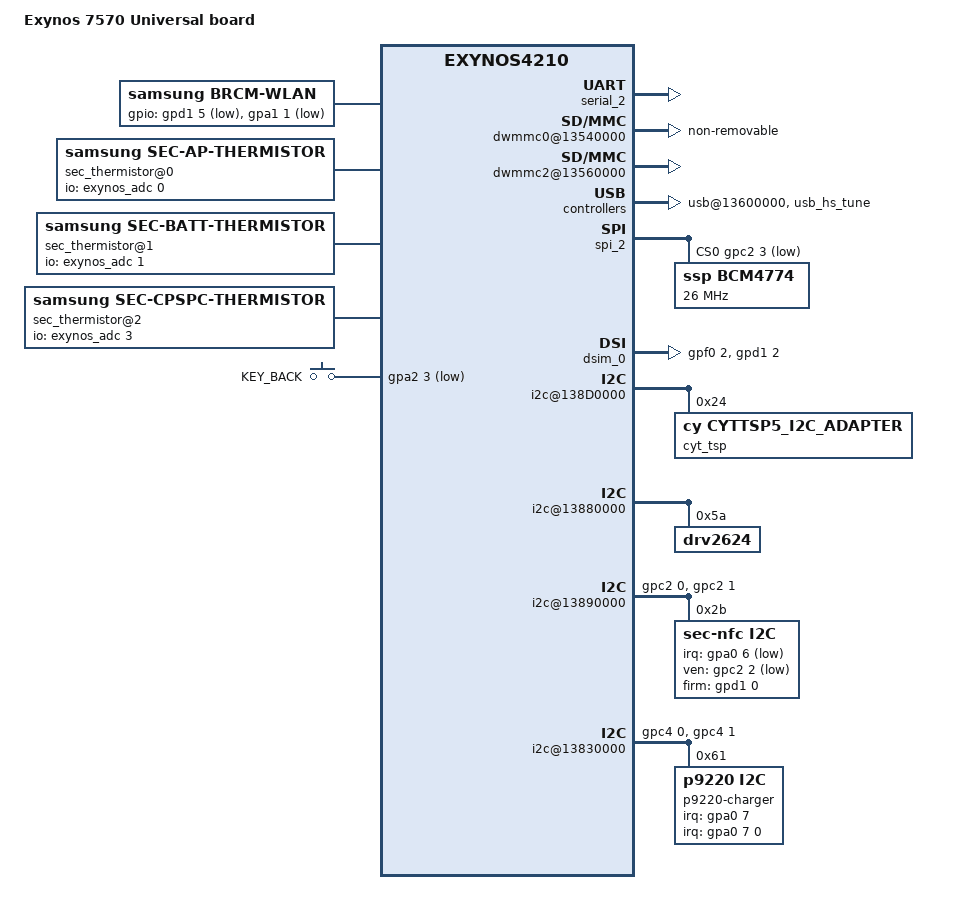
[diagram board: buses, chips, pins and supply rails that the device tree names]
/*
 * Copyright (c) 2016, The Linux Foundation. All rights reserved.
 *
 * This program is free software; you can redistribute it and/or modify
 * it under the terms of the GNU General Public License version 2 and
 * only version 2 as published by the Free Software Foundation.
 *
 * This program is distributed in the hope that it will be useful,
 * but WITHOUT ANY WARRANTY; without even the implied warranty of
 * MERCHANTABILITY or FITNESS FOR A PARTICULAR PURPOSE.  See the
 * GNU General Public License for more details.
 */

#include "exynos7270.dtsi"
#include "exynos7270-pinctrl-tizen-solis-lte-r08.dtsi"
#include "modem-ss305ap-pdata.dtsi"
#include "exynos7270-tizen_solis-sound-wm1831.dtsi"
#include "exynos7270-tizen_solis-battery-r01.dtsi"
#include "exynos7270-rmem-lte.dtsi"
#include "exynos7270-tizen_solis-mst.dtsi"
#include <dt-bindings/input/input.h>

/ {
	model = "Exynos 7570 Universal board";
	compatible = "samsung,exynos7570", "samsung,exynos4210";

	memory@40000000 {
		device_type = "memory";
	};

	chosen {
		bootargs = "";
	};

	sec-gsim {
	};

	fixed-rate-clocks {
		oscclk {
			compatible = "samsung,exynos7570-oscclk";
			clock-frequency = <26000000>;
		};
	};

	serial_2: uart@13820000 {
		status = "okay";
	};

	dwmmc0@13540000 {
		status = "okay";
		num-slots = <1>;
		broken-card-detect;
		use-smu;
		fixed_voltage;
		supports-highspeed;
		clock-gate;
		mmc-ddr-1_8v;
		mmc-hs200-1_8v;
		mmc-hs400-1_8v;
		supports-8bit;
		supports-cmd23;
		supports-erase;
		enable-ulp-mode;
		only_once_tune;
		ignore-phase = <(1 << 7)>;
		use-fine-tuning;
		bypass-for-allpass;
		card-init-hwacg-ctrl;
		fifo-depth = <0x40>;
		non-removable;
		card-detect-delay = <200>;
		clock-frequency = <700000000>;
		samsung,dw-mshc-ciu-div = <3>;
		samsung,dw-mshc-txdt-crc-timer-fastlimit = <0x34>;
		samsung,dw-mshc-txdt-crc-timer-initval = <0x38>;
		samsung,dw-mshc-ddr200-delay-line = <0x60>;
		samsung,dw-mshc-sdr-timing = <3 0 2 0>;
		samsung,dw-mshc-ddr-timing = <3 0 4 2>;
		samsung,dw-mshc-hs200-timing = <3 0 3 0>;
		samsung,dw-mshc-ddr200-timing = <1 0 4 0>;
		samsung,dw-mshc-ddr200-ulp-timing = <3 0 3 0>;

		num-ref-clks = <12>;
		ciu_clkin = <25 43 43 25 43 87 175 43 43 175 175 175>;

		/* Swapping clock drive strength */
		clk-drive-number = <4>;
		pinctrl-names = "default",
			"fast-slew-rate-1x",
			"fast-slew-rate-2x",
			"fast-slew-rate-3x",
			"fast-slew-rate-4x";
		pinctrl-0 = <&sd0_clk &sd0_cmd &sd0_rdqs &sd0_bus1 &sd0_bus4 &sd0_bus8>;
		pinctrl-1 = <&sd0_clk_fast_slew_rate_1x>;
		pinctrl-2 = <&sd0_clk_fast_slew_rate_2x>;
		pinctrl-3 = <&sd0_clk_fast_slew_rate_3x>;
		pinctrl-4 = <&sd0_clk_fast_slew_rate_4x>;
		slot@0 {
			reg = <0>;
			bus-width = <8>;
		};
	};

	/* Broadcom SDIO interface*/
	dwmmc2@13560000 {
		status = "okay";
		num-slots = <1>;
		clock-gate;
		cd-type-external;
		pm-ignore-notify;
		supports-highspeed;
		supports-4bit;
	//	supports-cmd23;
	//	supports-erase;
	//	sd-uhs-sdr50;
		//sd-uhs-sdr104;
		//broken-cd;
	//	supports-sdio-irq;
		enable-sdio-wakeup;
		bypass-smu;
		bypass-for-allpass;
	//	use-fine-tuning;
		card-init-hwacg-ctrl;
		ignore-phase = <(1 << 7)>;
		fifo-depth = <0x40>;
		card-detect-delay = <200>;
		samsung,dw-mshc-ciu-div = <3>;
		samsung,dw-mshc-sdr-timing = <3 0 2 0>;
		samsung,dw-mshc-ddr-timing = <3 0 2 1>;
		samsung,dw-mshc-sdr50-timing = <3 0 4 2>;
		//samsung,dw-mshc-sdr104-timing = <3 0 3 0>;

		num-ref-clks = <6>;
		ciu_clkin = <25 43 43 87 175 43>;

		clk-drive-number = <4>;
		pinctrl-names = "default",
			"fast-slew-rate-1x",
			"fast-slew-rate-2x",
			"fast-slew-rate-3x",
			"fast-slew-rate-4x";
		pinctrl-0 = <&sd2_clk &sd2_cmd &sd2_bus1 &sd2_bus4 &cfg_wlanen &cfg_wlanhostwake>;
		pinctrl-1 = <&sd2_clk_fast_slew_rate_1x>;
		pinctrl-2 = <&sd2_clk_fast_slew_rate_2x>;
		pinctrl-3 = <&sd2_clk_fast_slew_rate_3x>;
		pinctrl-4 = <&sd2_clk_fast_slew_rate_4x>;

		//card-detect = <&gpa0 1 0xf>;

		slot@0 {
			reg = <0>;
			bus-width = <4>;
			disable-wp;
		};
	};

	wlan {
                compatible = "samsung,brcm-wlan";
                gpios = <&gpd1 5 0x1 /* WLAN_EN */
                         &gpa1 1 0x1 /* WLAN HOST WAKE GPIO_0 */>;
//                pinctrl-names = "default";
//                pinctrl-0 = <&cfg_wlanen &cfg_wlanhostwake>;
                status = "okay";
	};

	/* modem_interface */
	mif_pdata {
		reg = <0 0x10000 0x0>;

		pinctrl-names = "default";
		pinctrl-0 = <&cp_gpio_w>;

		mif,ap_clk_table = <
			/* khz */
			962000
			>;

		mif,mif_clk_table = <
			/* khz */
			830000
			700000
			666000
			415000
			>;
		mif,int_clk_table = <
			/* khz */
			467000
			415000
			>;
	};

	usb@13600000 {
		status = "okay";

		dwc3 {
			dr_mode = "otg";
		};
	};

	usbphy@135c0000 {
		status = "okay";
		hs_tune_info = <&usb_hs_tune>;
		ss_tune_info = <&usb_ss_tune>;
	};

	usb_hs_tune:hs_tune {
		status = "okay";
		/* value = <device host> */
		tx_vref = <0xC 0x3>;
		tx_pre_emp = <0x0 0x0>;
		tx_pre_emp_puls = <0x0 0x0>;
		tx_res	= <0x2 0x2>;
		tx_rise = <0x1 0x1>;
		tx_hsxv = <0x0 0x0>;
		tx_fsls = <0x3 0x3>;
		rx_sqrx = <0x5 0x5>;
		compdis	= <0x3 0x3>;
		otg= <0x2 0x2>;
		/* true : 1, false: 0 */
		/* <enable_user_imp user_imp_value> */
		enable_user_imp = <0 0>;
		/* PHY clk : 1 , FREE clk : 0 */
		is_phyclock = <1>;
	};

	usb_ss_tune:ss_tune {
		status = "disabled";
		/* value = <device host> */
		tx_boost_level = <0x4 0x4>;
		tx_swing_level = <0x1 0x1>;
		tx_swing_full = <0x7F 0x7F>;
		tx_swing_low = <0x7F 0x7F>;
		tx_deemphasis_mode = <0x1 0x1>;
		tx_deemphasis_3p5db = <0x18 0x18>;
		tx_deemphasis_6db = <0x18 0x18>;
		enable_ssc = <0x1 0x1>;
		ssc_range = <0x0 0x1>;
		los_bias = <0x5 0x5>;
		los_mask_val = <0x104 0x104>;
		enable_fixed_rxeq_mode = <0x0 0x0>;
		fix_rxeq_value = <0x4 0x4>;
		set_crport_mpll_charge_pump = <0x0 0x0>;
		set_crport_level_en = <0x0 0x0>;
	};

	usb_notifier {
		compatible = "samsung,usb-notifier";
		udc = <&udc>;
	};

	slp_multi: slp_multi_gadget {
		compatible = "slp,slp_multi";
		slp,slp_multi-swfi-latency = <1>;
		slp,slp_multi-enable-funcs = "sdb", "mtp", "acm", "dm", "rndis";
	};

	sec_thermistor@0 {
		compatible = "samsung,sec-ap-thermistor";
		status = "okay";

		adc_array = <50 70 130 200 260 350 490 627 881 1196 1564 2033 2467 2874 3280 3412>;
		temp_array = <1250 1200 1100 1000 900 800 700 600 500 400 300 200 100 0 (-100) (-200)>;

		history_index = <0>;

		io-channels = <&exynos_adc 0>;
		io-channel-names = "adc-ap-temp";
		io-channel-ranges;
	};

	sec_thermistor@1 {
		compatible = "samsung,sec-batt-thermistor";
		status = "okay";

		adc_array = <70 90 120 160 219 306 425 466 497 535 589 695 819 1127 1512 1871 1977 2115 2209 2304 2402 2449 2494 2598 2687 2773 2905 3112 3295>;
		temp_array = <1200 1100 1000 900 800 700 600 570 550 530 500 450 400 300 200 120 100 70 50 30 10 0 (-10) (-30) (-50) (-70) (-100) (-150) (-200)>;

		history_index = <1>;

		io-channels = <&exynos_adc 1>;
		io-channel-names = "adc-batt-temp";
		io-channel-ranges;
	};

	sec_thermistor@2 {
		compatible = "samsung,sec-cpspc-thermistor";
		status = "okay";

		/* CP specific does not use ADC/TEMP table */
		/* Just added dummy table for driver */
		adc_array = <650 4025>;
		temp_array = <(-250) 700>;

		history_index = <2>;

		io-channels = <&exynos_adc 3>;
		io-channel-names = "adc-cp-temp";
		io-channel-ranges;
	};

	tmuctrl_0: tmuctrl_CPUCL0@10130000 {
		compatible = "samsung,exynos7570-tmu";
		reg = <0x0 0x10130000 0x200>;
		interrupts = <0 435 0>;
		default_ptat_cont = <0x1>;
	};

	tmuctrl_1: tmuctrl_G3D@10130000 {
		compatible = "samsung,exynos7570-tmu";
		reg = <0x0 0x10130000 0x200>;
		interrupts = <0 435 0>;
		default_ptat_cont = <0x1>;

		/* gpu cooling related table */
		gpu_idx_num = <5>;
		/* flags, driver_data(index), frequency */
		gpu_cooling_table = < 0 0 420000
				      0 1 350000
				      0 2 169000
				      0 3  97000
				      0 4 TABLE_END>;
	};

	usi_0: usi@101D2000 {
		usi_mode = "spi";
		status = "okay";
	};

	spi_2: spi@13910000 {
		status = "okay";
		cs-gpios = <&gpc2 3 1>;

		pinctrl-names = "default";
		pinctrl-0 = <&spi2_bus &spi2_cs_0 &gps_hub_en>;
		BCM4774@0 {
			reg = <0>;
			bits-per-word = <8>;
			spi-max-frequency = <26000000>;
			compatible = "ssp,BCM4774";
			pinctrl-names = "default";
			pinctrl-0 = <&ssp_mcu_resp &ssp_mcu_req &ssp_host_req>;
			ssp-host-req = <&gpa1 0 0x00>;
			ssp-mcu-req = <&gpc0 1 0x00>;
			ssp-mcu-resp = <&gpf0 3 0x00>;
			ssp,acc-position = <0>;
			ssp,mag-position = <0>;
			ssp,ap-rev = <1>;
			ssp,hw-rev = <1>;
			controller-data {
				cs-gpio = <&gpc2 3 1>;
				samsung,spi-feedback-delay = <0>;
				samsung,spi-chip-select-mode = <0>;
			};
		};
	};

	gps {
		compatible = "broadcom,bcm4774";
		gps-pwr-en = <&gpf1 1 0x00>;
	};


	ion {
		compatible = "samsung,exynos5430-ion";
	};

	pinctrl@139B0000 {
		disp_vsync: disp-vsync {
			samsung,pins = "gpe0-2";
			samsung,pin-function = <0x2>; /* DISP_TES */
			samsung,pin-pud = <1>; /* Pull-down enabled */
			samsung,pin-drv = <0>; /* 1x */
			samsung,pin-con-pdn = <2>; /* Input */
			samsung,pin-pud-pdn = <1>; /* Pull-down enabled */
		};
	};

	pinctrl@139B0000 {
		oled_det: oled-det {
			samsung,pins = "gpd1-2";
			samsung,pin-function = <0x0>;
			samsung,pin-pud = <0>; /* Pull-up/down disabled */
			samsung,pin-drv = <0>; /* 1x */
			samsung,pin-con-pdn = <2>; /* Input */
			samsung,pin-pud-pdn = <0>; /* Pull-up/down disabled */
		};
		err_fg: err-fg {
			samsung,pins = "gpd1-3";
			samsung,pin-function = <0x0>;
			samsung,pin-pud = <1>; /* Pull-down enabled */
			samsung,pin-drv = <0>; /* 1x */
			samsung,pin-con-pdn = <2>; /* Input */
			samsung,pin-pud-pdn = <1>; /* Pull-down enabled */
		};
		disp_rst_prev: disp-rst-prev {
			samsung,pins = "gpf0-2";
			samsung,pin-function = <0x1>;  /* Output */
			samsung,pin-pud = <3>; /* Pull-up enabled */
			samsung,pin-drv = <0>; /* 1x */
			samsung,pin-con-pdn = <1>; /* Output 1 */
			samsung,pin-pud-pdn = <3>; /* Pull-up enabled */
		};
		disp_rst_in: disp-rst-in {
			samsung,pins = "gpf0-2";
			samsung,pin-function = <0x1>;  /* Output */
			samsung,pin-pud = <3>; /* Pull-up enabled */
			samsung,pin-drv = <0>; /* 1x */
			samsung,pin-con-pdn = <0>; /* Output 0 */
			samsung,pin-pud-pdn = <1>; /* Pull-down enabled */
		};
	};

	decon_fb@14830000 {
		/* HW TE */
		gpios = <&gpe0 2 0xf>;
		pinctrl-names = "default", "aod_on", "aod_off";
		pinctrl-0 = <&disp_vsync &oled_det &err_fg>;
		pinctrl-1 = <&disp_rst_prev>;
		pinctrl-2 = <&disp_rst_in>;
		/* 0: video mode, 1: DP command mode, 2: MIPI command mode */
		psr_mode = <2>;
		/* vclk_mif = 100MHz */
		mif-vclk = <100000000>;
		/* vclk = 12.5 Mhz */
		disp-vclk = <12500000>;
		/* aclk = 210Mhz */
		disp-dvfs = <210000000>;
		status = "okay";
	};

	dsim_0: dsim@14800000 {
		lcd_info = <&s6e36w2x01>;
		/*lcd reset */
		gpios = <&gpf0 2 0x1 &gpd1 2 0x0>;
		status = "okay";
	};

	s6e36w2x01: s6e36w2x01_custom {
		/* 0: video mode, 1: DP command mode, 2: MIPI command mode */
		mode = <2>;
		/* custom (360 x 360) */
		panel_name = "s6e36w2x01";
		resolution = <360 360>;
		/* DISP I/F resolution width : 300, height : 432 */
		dispif_resol = <300 432>;
		size = <33 33>;
		timing,refresh = <60>;
		/* dsim H porch : hbp, hfp, hsa */
		timing,dsim_h-porch = <1 1 1>;
		/* dsim V porch : VBP, VFP, VSA */
		timing,dsim_v-porch = <5 10 1>;
		/* decon H porch : hbp, hfp, hsa */
		timing,decon_h-porch = <3 1 1>;
		/* decon V porch : VBP, VFP, VSA */
		timing,decon_v-porch = <5 10 1>;
		/* panel max speed : 384Mbps */
		timing,dsi-hs-clk = <384>;
		timing,pms = <2 118 2>;
		timing,dsi-escape-clk = <8>;
		vci_name = "vdd_ldo16";
		vdd_name = "vdd_ldo17";
	};

	input_assistant {
		compatible = "input-assistant";
		input_assistant,num_map = <2>;
		input_assistant,map_key = <2>;
		input_assistant,map_codes = "gpio_keys_code", "bezel_input_code";
		input_assistant,map_types ="gpio_keys_type", "bezel_input_type";
		gpio_keys_code  = <KEY_BACK KEY_POWER 0x2f>;
		gpio_keys_type  = <0x01 0x01 0x03>;
		bezel_input_code  = <0x08 0x00>;
		bezel_input_type  = <0x02 0x02>;
		input_assistant,dev_num = <3>;
		input_assistant,dev_name_str = "gpio_keys", "s2mpw01-power-keys", "tizen_detent";
	};

	samsung_input_bridge {
		compatible = "samsung_input_bridge";
		input_bridge,num_map = <4>;
		input_bridge,map_codes ="input_bridge,logdump_map_code",
					"input_bridge,safemode_map_code",
					"input_bridge,payment_map_code",
					"input_bridge,hall_log_map_code";
		input_bridge,map_types ="input_bridge,logdump_map_type",
					"input_bridge,safemode_map_type",
					"input_bridge,payment_map_type",
					"input_bridge,hall_log_map_type";
		input_bridge,logdump_map_code  = <115 114 115 114 116 114 115 116>;
		input_bridge,logdump_map_type  = <1 1 1 1 1 1 1 1>;
		input_bridge,safemode_map_code  = <114>;
		input_bridge,safemode_map_type  = <1>;
		input_bridge,payment_map_code  = <158>;
		input_bridge,payment_map_type  = <1>;
		input_bridge,hall_log_map_code = <116 8 8 8 8 8 8 8 8>;
		input_bridge,hall_log_map_type = <1 2 2 2 2 2 2 2 2>;
		input_bridge,env_str = "APPS_LOG", "SAFE_MODE", "PAYMENT", "APPS_LOG";
		input_bridge,env_value = "ON", "ON", "ON", "ON";
		input_bridge,map_key = <1>;
		input_bridge,enable_uevent = <1>;
		input_bridge,uevent_action = <2>;
		input_bridge,dev_num = <3>;
		input_bridge,dev_name_str = "tizen_detent", "gpio_keys", "s2mpw01-power-keys";
	};

	pinctrl@139F0000 {
		detent_usr: detent_usr {
			samsung,pins = "gpa0-2", "gpa0-3", "gpa0-4";
			samsung,pin-function = <0xf>;
			samsung,pin-pud = <0>; /* Pull-up/down disabled */
			samsung,pin-drv = <0>;
			samsung,pin-con-pdn = <3>;
			samsung,pin-pud-pdn = <0>; /* Pull-up/down disabled */
		};
		detent_eng: detent_eng {
			samsung,pins = "gpa0-2", "gpa0-3", "gpa0-4";
			samsung,pin-function = <0xf>;
			samsung,pin-pud = <1>; /* Pull-down enabled */
			samsung,pin-drv = <0>;
			samsung,pin-con-pdn = <3>;
			samsung,pin-pud-pdn = <1>; /* Pull-down enabled */
		};
	};

	detent {
		compatible = "tizen_detent";
		hall_sensor,gpio_a = <&gpa0 2 0xf>;
		hall_sensor,gpio_b = <&gpa0 3 0xf>;
		hall_sensor,gpio_c = <&gpa0 4 0xf>;
		pinctrl-names = "usr", "eng";
		pinctrl-0 = <&detent_usr>;
		pinctrl-1 = <&detent_eng>;
		regulator_name = "vdd_ldo3";
	};

	pinctrl@139F0000 {
		attn_irq: attn-irq {
			samsung,pins = "gpa0-1";
			samsung,pin-function = <0xf>; /* WEINT_GPA0[0] */
			samsung,pin-pud = <0>; /* Pull-up/down disabled */
			samsung,pin-drv = <0>; /* 1x */
			samsung,pin-con-pdn = <3>; /* Previous State */
			samsung,pin-pud-pdn = <0>; /* Pull-up/down disabled */
		};
	};

	pinctrl@139B0000 {
		attn_rst_wake: attn-rst-wake {
			samsung,pins = "gpd1-1";
			samsung,pin-function = <0x1>; /* Output */
			samsung,pin-pud = <0>; /* Pull-up/down disabled */
			samsung,pin-drv = <0>; /* 1x */
			samsung,pin-con-pdn = <1>; /* Output 1 */
			samsung,pin-pud-pdn = <0>; /* Pull-up/down disabled */
		};

		attn_rst_off: attn-rst-off {
			samsung,pins = "gpd1-1";
			samsung,pin-function = <0x1>;
			samsung,pin-pud = <0>; /* Pull-up/down disabled */
			samsung,pin-drv = <0>; /* 1x */
			samsung,pin-con-pdn = <2>; /* Input */
			samsung,pin-pud-pdn = <1>; /* Pull-down enabled */
		};

		i2c5_bus_wake: i2c5-bus-wake {
			samsung,pins = "gpc4-3", "gpc4-2";
			samsung,pin-function = <2>; /* I2C_5 */
			samsung,pin-pud = <0>; /* Pull-up/down disabled */
			samsung,pin-drv = <0>; /* 1x */
			samsung,pin-con-pdn = <2>; /* Input */
			samsung,pin-pud-pdn = <0>; /* Pull-up/down disabled */
		};

		i2c5_bus_off: i2c5-bus-off {
			samsung,pins = "gpc4-3", "gpc4-2";
			samsung,pin-function = <2>; /* I2C_5 */
			samsung,pin-pud = <0>; /* Pull-up/down disabled */
			samsung,pin-drv = <0>; /* 1x */
			samsung,pin-con-pdn = <2>; /* Input */
			samsung,pin-pud-pdn = <1>; /* Pull-down enabled */
		};
	};

	i2c@138D0000{ /* BLSP1 QUP5 */
		status = "okay";
		#address-cells = <1>;
		#size-cells = <0>;

		cyt_tsp@24 {
			compatible = "cy,cyttsp5_i2c_adapter";
			reg = <0x24>; /*slave address*/
			pinctrl-names = "wakeup", "off";
			pinctrl-0 = <&i2c5_bus_wake &attn_rst_wake &attn_irq>;
			pinctrl-1 = <&i2c5_bus_off &attn_rst_off &attn_irq>;
			cy,adapter_id = "cyttsp5_i2c_adapter";
			cy,core {
				cy,name = "cyttsp5_core";
				cy,irq_gpio = <&gpa0 1 0xf>;
				cy,rst_gpio = <&gpd1 1 0x1>;
				cy,hid_desc_register = <1>;
				cy,flags = <4>;
				cy,report_rate = <90>;
				cy,fw_path = "tsp_cypress/cyttsp5_8x8.fw";
				cy,mt {
					cy,name = "cyttsp5_mt";
					cy,inp_dev_name = "sec_touchscreen";
					cy,flags = <0x00>;
					cy,abs =
						/* ABS_MT_POSITION_X, CY_ABS_MIN_X, CY_ABS_MAX_X, 0, 0 */
						<0x35 0 360 0 0
						/* ABS_MT_POSITION_Y, CY_ABS_MIN_Y, CY_ABS_MAX_Y, 0, 0 */
						0x36 0 360 0 0
						/* ABS_MT_PRESSURE, CY_ABS_MIN_P, CY_ABS_MAX_P, 0, 0 */
						0x3a 0 255 0 0
						/* CY_IGNORE_VALUE, CY_ABS_MIN_W, CY_ABS_MAX_W, 0, 0 */
						0xffff 0 255 0 0
						/* ABS_MT_TRACKING_ID, CY_ABS_MIN_T, CY_ABS_MAX_T, 0, 0 */
						0x39 0 15 0 0
						/* ABS_MT_TOUCH_MAJOR, 0, 255, 0, 0 */
						0x30 0 255 0 0
						/* ABS_MT_TOUCH_MINOR, 0, 255, 0, 0 */
						0x31 0 255 0 0
						/* ABS_MT_ORIENTATION, -128, 127, 0, 0 */
						0x34 0xfffffed7 127 0 0
						/* ABS_MT_TOOL_TYPE, 0, MT_TOOL_MAX, 0, 0 */
						0x37 0 1 0 0>;
				};
			};
		};
	};
/*
	pinctrl@139F0000 {
		nfc_irq: nfc_irq {
			samsung,pins = "gpa0-6";
			samsung,pin-function = <0xf>;
			samsung,pin-pud = <0>;
			samsung,pin-drv = <0>;
		};
	};
*/
	/* I2C_MOTOR */
	i2c@13880000 {
		status = "okay";
		#address-cells = <1>;
		#size-cells = <0>;

		drv2624@5A{
			compatible = "drv2624";
			reg = <0x5A>;
		};
	};

    i2c@13890000 {
		status = "okay";
		#address-cells = <1>;
		#size-cells = <0>;
		gpios = <&gpc2 0 0 /* sda */
				&gpc2 1 0 >; /* scl */
		i2c-gpio,delay-us = <10>;
		i2c-gpio,timeout-ms = <0>;

		sec-nfc@2B{
			compatible = "sec-nfc,i2c";
			reg = <0x2B>;
			pinctrl-names = "default";
			pinctrl-0 = <&nfc_irq &gpio_nfc_en &gpio_nfc_firm>;
			sec-nfc,irq-gpio = <&gpa0 6 0xf>;
			sec-nfc,ven-gpio = <&gpc2 2 0x1>;
			sec-nfc,firm-gpio = <&gpd1 0 0x00>;
			sec-nfc,gpio-sda = <&gpc2 0 0x00>;
			sec-nfc,gpio-scl = <&gpc2 1 0x00>;
		};
	};

	pinctrl@139F0000 {
		wpc_irq: wpc_irq {
			samsung,pins = "gpa0-7";
			samsung,pin-function = <0xf>;
			samsung,pin-pud = <0>;
			samsung,pin-drv = <0>;
			samsung,pin-con-pdn = <3>;
			samsung,pin-pud-pdn = <0>;
		};
	};

    i2c@13830000 {
		status = "okay";
		#address-cells = <1>;
		#size-cells = <0>;
		gpios = <&gpc4 0 0 /* sda */
				&gpc4 1 0 >; /* scl */
		i2c-gpio,delay-us = <10>;
		i2c-gpio,timeout-ms = <0>;

		p9220-charger@61{
			compatible = "p9220,i2c";
			reg = <0x61>;
			pinctrl-names = "default";
			pinctrl-0 = <&wpc_irq>;
			interrupts = <7 0 0>;
			interrupt-parent = <&gpa0>;
			p9220,irq-gpio = <&gpa0 7 0x00>;
			p9220,gpio-sda = <&gpc4 0 0x00>;
			p9220,gpio-scl = <&gpc4 1 0x00>;

			p9220,dedicated-tx-type = <3>;		/* TX_TYPE_S3 */
								/* (vrec, vout)  */
			p9220,sec_mode_data = <	0	0		/* SEC_INITIAL_MODE 		*/
									110	4900	/* SEC_SWELLING_MODE 		*/
									15	4600	/* SEC_LOW_BATT_MODE		*/
									15	4900	/* SEC_MID_BATT_MODE		*/
									70	4900	/* SEC_HIGH_BATT_MODE		*/
									94	4900	/* SEC_VERY_HIGH_BATT_MODE	*/
									94	4900	/* SEC_FULL_NONE_MODE		*/
									110	4900	/* SEC_FULL_NORMAL_MODE		*/
									62	4600	/* SEC_SWELLING_LDU_MODE	*/
									62	4600	/* SEC_LOW_BATT_LDU_MODE	*/
									126	4900	/* SEC_FULL_NONE_LDU_MODE 	*/
									62	4600	/* SEC_FULL_NORMAL_LDU_MODE */
									>;
		};
	};

	speedy@10510000 {
		status = "okay";
		s2mpw01mfd@00 {
			compatible = "samsung,s2mpw01mfd";
			reg = <0x00>;
			pinctrl-names = "default";
			pinctrl-0 = <&if_irq &pmic_wrstbi &fuel_irq>;
			s2mpw01,irq-gpio = <&gpa0 5 0>;
			s2mpw01,wakeup = "enabled";

			i2c-speedy-address;
			cache_data = <1>;

			/* RTC: wtsr/smpl */
			wtsr_en = "enabled"; /* enable */
			wtsr_timer_val = <3>;   /* 1000ms */
			check_jigon = <0>; /* do not check jigon */
			/* RTC: reset time to 1/1/2014 00:00:00(Wed) */
			init_time,sec = <0>;
			init_time,min = <0>;
			init_time,hour = <0>;
			init_time,mday = <1>;
			init_time,mon = <0>;    /* +1 */
			init_time,year = <116>; /* 1900 + 114 */
			init_time,wday = <5>;

			s2mpw01-keys {
				button@1 {
					label = "KEY_POWER";
					linux,code = <KEY_POWER>;
					wakeup = <1>;
				};
			};

			regulators {
				buck1_reg: BUCK1 {
					regulator-name = "BUCK1";
					regulator-min-microvolt = <600000>;
					regulator-max-microvolt = <1300000>;
					regulator-always-on;
					regulator-boot-on;
					regulator-ramp-delay = <12000>;
					regulator-initial-mode = <1>;
					regulator-expected-consumer = <6>;
				};

				buck3_reg: BUCK3 {
					regulator-name = "BUCK3";
					regulator-min-microvolt = <800000>;
					regulator-max-microvolt = <1500000>;
					regulator-always-on;
					regulator-boot-on;
					regulator-ramp-delay = <12000>;
					regulator-initial-mode = <3>;
				};

				buck4_reg: BUCK4 {
					regulator-name = "BUCK4";
					regulator-min-microvolt = <1800000>;
					regulator-max-microvolt = <2100000>;
					regulator-always-on;
					regulator-boot-on;
					regulator-initial-mode = <3>;
					regulator-ramp-delay = <12000>;
				};

				ldo1_reg: LDO1 {
					regulator-name = "vdd_ldo1";
					regulator-min-microvolt = <500000>;
					regulator-max-microvolt = <1350000>;
					regulator-ramp-delay = <12000>;
					regulator-initial-mode = <3>;
					regulator-always-on;
					regulator-boot-on;
				};

				ldo2_reg: LDO2 {
					regulator-name = "vdd_ldo2";
					regulator-min-microvolt = <500000>;
					regulator-max-microvolt = <1350000>;
					regulator-always-on;
					regulator-boot-on;
					regulator-ramp-delay = <12000>;
					regulator-initial-mode = <1>;
				};

				ldo3_reg: LDO3 {
					regulator-name = "vdd_ldo3";
					regulator-min-microvolt = <1500000>;
					regulator-max-microvolt = <2000000>;
					regulator-always-on;
					regulator-boot-on;
					regulator-initial-mode = <3>;
					regulator-ramp-delay = <12000>;
				};

				ldo4_reg: LDO4 {
					regulator-name = "vdd_ldo4";
					regulator-min-microvolt = <800000>;
					regulator-max-microvolt = <1200000>;
					regulator-always-on;
					regulator-boot-on;
					regulator-initial-mode = <1>;
					regulator-ramp-delay = <12000>;
				};

				ldo5_reg: LDO5 {
					regulator-name = "vdd_ldo5";
					regulator-min-microvolt = <1000000>;
					regulator-max-microvolt = <1000000>;
					regulator-always-on;
					regulator-boot-on;
					regulator-ramp-delay = <12000>;
				};

				ldo6_reg: LDO6 {
					regulator-name = "vdd_ldo6";
					regulator-min-microvolt = <1800000>;
					regulator-max-microvolt = <3375000>;
					regulator-initial-mode = <1>;
					regulator-ramp-delay = <12000>;
					regulator-always-on;
				};

				ldo7_reg: LDO7 {
					regulator-name = "vdd_ldo7";
					regulator-min-microvolt = <800000>;
					regulator-max-microvolt = <1200000>;
					regulator-always-on;
					regulator-boot-on;
					regulator-initial-mode = <3>;
					regulator-ramp-delay = <12000>;
				};

				ldo8_reg: LDO8 {
					regulator-name = "vqemmc";
					regulator-min-microvolt = <1500000>;
					regulator-max-microvolt = <2000000>;
					regulator-initial-mode = <0>;
					regulator-ramp-delay = <12000>;
				};

				ldo9_reg: LDO9 {
					regulator-name = "vemmc";
					regulator-min-microvolt = <1800000>;
					regulator-max-microvolt = <3375000>;
					regulator-initial-mode = <0>;
					regulator-ramp-delay = <12000>;
				};

				ldo10_reg: LDO10 {
					regulator-name = "vdd_ldo10";
					regulator-min-microvolt = <1500000>;
					regulator-max-microvolt = <2000000>;
					regulator-always-on;
					regulator-boot-on;
					regulator-initial-mode = <1>;
					regulator-ramp-delay = <12000>;
				};

				ldo11_reg: LDO11 {
					regulator-name = "vdd_ldo11";
					regulator-min-microvolt = <1800000>;
					regulator-max-microvolt = <2850000>;
					regulator-always-on;
					regulator-boot-on;
					regulator-ramp-delay = <12000>;
					regulator-initial-mode = <2>;
				};

				ldo12_reg: LDO12 {
					regulator-name = "vdd_ldo12";
					regulator-min-microvolt = <3300000>;
					regulator-max-microvolt = <3300000>;
					regulator-always-on;
					regulator-boot-on;
					regulator-ramp-delay = <12000>;
					regulator-initial-mode = <2>;
				};

				ldo13_reg: LDO13 {
					regulator-name = "vdd_ldo13";
					regulator-min-microvolt = <1800000>;
					regulator-max-microvolt = <1800000>;
					regulator-always-on;
					regulator-boot-on;
					regulator-ramp-delay = <12000>;
					regulator-initial-mode = <2>;
				};

				ldo14_reg: LDO14 {
					regulator-name = "vdd_ldo14";
					regulator-min-microvolt = <1800000>;
					regulator-max-microvolt = <3375000>;
					regulator-ramp-delay = <12000>;
				};

				ldo15_reg: LDO15 {
					regulator-name = "vdd_ldo15";
					regulator-min-microvolt = <1500000>;
					regulator-max-microvolt = <2000000>;
					regulator-always-on;
					regulator-boot-on;
					regulator-initial-mode = <1>;
					regulator-ramp-delay = <12000>;
				};

				ldo16_reg: LDO16 {
					regulator-name = "vdd_ldo16";
					regulator-min-microvolt = <1800000>;
					regulator-max-microvolt = <3375000>;
					regulator-initial-mode = <3>;
					regulator-ramp-delay = <12000>;
				};

				ldo17_reg: LDO17 {
					regulator-name = "vdd_ldo17";
					regulator-min-microvolt = <1500000>;
					regulator-max-microvolt = <2000000>;
					regulator-initial-mode = <3>;
					regulator-ramp-delay = <12000>;
				};

				ldo18_reg: LDO18 {
					regulator-name = "vdd_ldo18";
					regulator-min-microvolt = <1800000>;
					regulator-max-microvolt = <3375000>;
					regulator-always-on;
					regulator-boot-on;
					regulator-ramp-delay = <12000>;
				};

				ldo19_reg: LDO19 {
					regulator-name = "vdd_ldo19";
					regulator-min-microvolt = <1800000>;
					regulator-max-microvolt = <3375000>;
					regulator-initial-mode = <0>;
					regulator-ramp-delay = <12000>;
				};

				ldo20_reg: LDO20 {
					regulator-name = "MST_LEVEL_3.0V";
					regulator-min-microvolt = <3000000>;
					regulator-max-microvolt = <3000000>;
				};

				ldo21_reg: LDO21 {
					regulator-name = "vdd_ldo21";
					regulator-min-microvolt = <1500000>;
					regulator-max-microvolt = <2000000>;
					regulator-ramp-delay = <12000>;
					regulator-always-on;
					regulator-boot-on;
					regulator-initial-mode = <1>;
				};

				ldo22_reg: LDO22 {
					regulator-name = "vdd_ldo22";
					regulator-min-microvolt = <800000>;
					regulator-max-microvolt = <1200000>;
					regulator-always-on;
					regulator-boot-on;
					regulator-initial-mode = <1>;
					regulator-ramp-delay = <12000>;
				};

				ldo23_reg: LDO23 {
					regulator-name = "vdd_ldo23";
					regulator-min-microvolt = <1800000>;
					regulator-max-microvolt = <3375000>;
					regulator-always-on;
					regulator-boot-on;
					regulator-ramp-delay = <12000>;
				};
			};
		};
	};

	dummy-dev-buck1 {
		compatible = "samsung,exynos-rgt";
		test-supply = <&buck1_reg>;
	};

	dummy-dev-buck3 {
		compatible = "samsung,exynos-rgt";
		test-supply = <&buck3_reg>;
	};

	dummy-dev-buck4 {
		compatible = "samsung,exynos-rgt";
		test-supply = <&buck4_reg>;
	};

	dummy-dev-ldo1 {
		compatible = "samsung,exynos-rgt";
		test-supply = <&ldo1_reg>;
	};

	dummy-dev-ldo2 {
		compatible = "samsung,exynos-rgt";
		test-supply = <&ldo2_reg>;
	};

	dummy-dev-ldo3 {
		compatible = "samsung,exynos-rgt";
		test-supply = <&ldo3_reg>;
	};

	dummy-dev-ldo4 {
		compatible = "samsung,exynos-rgt";
		test-supply = <&ldo4_reg>;
	};

	dummy-dev-ldo5 {
		compatible = "samsung,exynos-rgt";
		test-supply = <&ldo5_reg>;
	};

	dummy-dev-ldo6 {
		compatible = "samsung,exynos-rgt";
		test-supply = <&ldo6_reg>;
	};

	dummy-dev-ldo7 {
		compatible = "samsung,exynos-rgt";
		test-supply = <&ldo7_reg>;
	};

	dummy-dev-ldo8 {
		compatible = "samsung,exynos-rgt";
		test-supply = <&ldo8_reg>;
	};

	dummy-dev-ldo9 {
		compatible = "samsung,exynos-rgt";
		test-supply = <&ldo9_reg>;
	};

	dummy-dev-ldo10 {
		compatible = "samsung,exynos-rgt";
		test-supply = <&ldo10_reg>;
	};

	dummy-dev-ldo11 {
		compatible = "samsung,exynos-rgt";
		test-supply = <&ldo11_reg>;
	};

	dummy-dev-ldo12 {
		compatible = "samsung,exynos-rgt";
		test-supply = <&ldo12_reg>;
	};

	dummy-dev-ldo13 {
		compatible = "samsung,exynos-rgt";
		test-supply = <&ldo13_reg>;
	};

	dummy-dev-ldo14 {
		compatible = "samsung,exynos-rgt";
		test-supply = <&ldo14_reg>;
	};

	dummy-dev-ldo15 {
		compatible = "samsung,exynos-rgt";
		test-supply = <&ldo15_reg>;
	};

	dummy-dev-ldo16 {
		compatible = "samsung,exynos-rgt";
		test-supply = <&ldo16_reg>;
	};

	dummy-dev-ldo17 {
		compatible = "samsung,exynos-rgt";
		test-supply = <&ldo17_reg>;
	};

	dummy-dev-ldo18 {
		compatible = "samsung,exynos-rgt";
		test-supply = <&ldo18_reg>;
	};

	dummy-dev-ldo19 {
		compatible = "samsung,exynos-rgt";
		test-supply = <&ldo19_reg>;
	};

	dummy-dev-ldo20 {
		compatible = "samsung,exynos-rgt";
		test-supply = <&ldo20_reg>;
	};

	dummy-dev-ldo21 {
		compatible = "samsung,exynos-rgt";
		test-supply = <&ldo21_reg>;
	};

	dummy-dev-ldo22 {
		compatible = "samsung,exynos-rgt";
		test-supply = <&ldo22_reg>;
	};

	dummy-dev-ldo23 {
		compatible = "samsung,exynos-rgt";
		test-supply = <&ldo23_reg>;
	};

	exynos-pm {
		compatible = "samsung,exynos-pm";
		reg = <0x0 0x139F0000 0x1000>,
		      <0x0 0x104E1200 0x100>;
		reg-names = "gpio_alive_base",
			    "gicd_ispendrn_base";
		num-eint = <24>;
		num-gic = <16>;
		suspend_mode_idx = <8>;		/* SYS_SLEEP */
		suspend_psci_idx = <131>;	/* PSCI_SYSTEM_SLEEP */
		cp_call_mode_idx = <4>;		/* SYS_LPD */
		cp_call_psci_idx = <131>;	/* PSCI_SYSTEM_SLEEP */
	};

	exynos-powermode {
		compatible = "exynos,powermode";

		/*	        sicd		sicd_cpd	aftr		stop
		 * 		lpd		lpa		alpa		dstop
		 *		sleep
		 */
		wakeup_mask =  <0x400791E1>,	<0x0>,		<0x0>,		<0x0>,
			       <0x0>,		<0x0>,		<0x0>,		<0x0>,
			       <0x4007FFFC>;
		wakeup_mask2 = <0x0>,		<0x0>,		<0x0>,		<0x0>,
			       <0x0>,		<0x0>,		<0x0>,		<0x0>,
			       <0xFFFF00FF>;
		wakeup_mask3 = <0x0>,		<0x0>,		<0x0>,		<0x0>,
			       <0x0>,		<0x0>,		<0x0>,		<0x0>,
			       <0xFFFF00FF>;

		cpd_residency = <3000>;
		sicd_residency = <3000>;

		sicd_enabled = <1>;

		idle-ip = "136c0000.pwm",		/* idle ip index : 0 */
			  "10550000.adc",		/* idle ip index : 1 */

			  "10510000.hsi2c",		/* idle ip index : 2 */
			  "13950000.hsi2c",		/* idle ip index : 3 */
			  "13960000.hsi2c",		/* idle ip index : 4 */
			  "138a0000.hsi2c",		/* idle ip index : 5 */
			  "138b0000.hsi2c",		/* idle ip index : 6 */
			  "138c0000.hsi2c",		/* idle ip index : 7 */
			  "138f0000.hsi2c",		/* idle ip index : 8 */

			  "13870000.i2c",		/* idle ip index : 9 */
			  "13880000.i2c",		/* idle ip index : 10 */
			  "13890000.i2c",		/* idle ip index : 11 */
			  "13840000.i2c",		/* idle ip index : 12 */
			  "13830000.i2c",		/* idle ip index : 13 */
			  "138d0000.i2c",		/* idle ip index : 14 */
			  "138e0000.i2c",		/* idle ip index : 15 */
			  "13850000.i2c",		/* idle ip index : 16 */
			  "13860000.i2c",		/* idle ip index : 17 */

			  "13540000.dwmmc0",		/* idle ip index : 18 */
			  "13560000.dwmmc2",		/* idle ip index : 19 */

			  "13600000.usb",		/* idle ip index : 20 */

			  "100c0000.spi",		/* idle ip index : 21 */
			  "13900000.spi",		/* idle ip index : 22 */
			  "13910000.spi",		/* idle ip index : 23 */
			  "13920000.spi",		/* idle ip index : 24 */
			  "13930000.spi",		/* idle ip index : 25 */

			  "10500000.mailbox-cp",	/* idle ip index : 26 */
			  "10570000.mailbox-gnss",	/* idle ip index : 27 */

			  "14830000.decon_fb",		/* idle ip index : 28 */
			  "pd-g3d",			/* idle ip index : 29 */
			  "pd-isp",			/* idle ip index : 30 */
			  "pd-mfcmscl",			/* idle ip index : 31 */
			  "148f0000.lpass";             /* idle ip index : 32 */
		idle_ip_mask {
			sicd: SYS_SICD {
				mode-index = <0>;
				ref-idle-ip = <0>,  <1>,  <2>,  <3>,  <4>,  <5>,  <6>,  <7>,  <8>,  <9>,
					     <10>, <11>, <12>, <13>, <14>, <15>, <16>, <17>, <18>, <19>,
					     <20>, <21>, <22>, <23>, <24>, <25>, <26>, <27>, <28>, <29>,
					     <30>, <31>, <32>;
			};
		};
	};

	pinctrl@139F0000 {
		key_back_1: key-back_1 {
			samsung,pins = "gpa2-3";
			samsung,pin-function = <0xf>; /* WEINT_GPA2[3] */
			samsung,pin-pud = <0>; /* Pull-up/down disabled */
			samsung,pin-drv = <0>; /* 1x */
			samsung,pin-con-pdn = <3>; /* Previous State */
			samsung,pin-pud-pdn = <0>; /* Pull-up/down disabled */
		};
	};

	gpio_keys {
		compatible = "gpio-keys";
		pinctrl-names = "default";
		pinctrl-0 = <&key_back_1>;
		#address-cells = <1>;
		#size-cells = <0>;

		button@1 {
			label = "KEY_BACK";
			interrupts = <3 0 0>;
			interrupt-parent = <&gpa2>;
			linux,code = <KEY_BACK>;
			gpios = <&gpa2 3 0xf>;
			gpio-key,wakeup = <1>;
		};
	};

	acpm: acpm@11C88000 {
		compatible = "samsung,exynos-acpm";
		#address-cells = <2>;
		#size-cells = <1>;
		reg = <0x0 0x11C88000 0x1000>;

		log_base = <0x02047700>;
		time_len = <32>;
		log_buff_size = <16>;
		log_buff_len = <380>;
		debug_logging_level = <0>;
		logging_period = <500>;

		dump_base = <0x02046000>;
		dump_size = <0x3800>;

		plugins {
			framework {
				attach = <2>;
				id = <0>;
				acpm-ipc-channel = <&framework_ch>;
			};
		};
	};

	acpm_ipc: acpm_ipc@11C00000 {
		compatible = "samsung,exynos-acpm-ipc";
		#address-cells = <2>;
		#size-cells = <1>;

		interrupts = <0 22 0>;
		reg = <0x0 0x11C00000 0x1000>;

		channels {
			polling = <1>;
			max_buff_size = <0x300>;
			framework_ch: framework@0x02047400 {
				channel_id = <0>;
				rx_buff = <0x02047400>;
				tx_buff = <0x02047480>;
				buff_size = <12>;
				buff_len = <8>;
				direction_buff = <412>;
			};
		};
	};

	bcm43012-bt {
		compatible = "samsung,bcm43012_bluetooth";
		bluetooth_pwr_en = <&gpc0 2 0x0>; /* BLUETOOTH_PWR_EN */
		bluetooth_wake = <&gpf0 0 0x1>; /* BLUETOOTH_WAKE */
		bluetooth_host_wake = <&gpa1 2 0x1>; /* BLUETOOTH_HOST_WAKE */
		pinctrl-names = "default";
		pinctrl-0 = <&cfg_bluetooth_en &cfg_bluetooth_wake &cfg_bluetooth_host_wake>;
	};

	sec_pinctrl_dvs {
		compatible = "sec_pinctrl_dvs";
		pinctrl-names = "default";
		pinctrl-0 = <&jtag_trst_n
					 &jtag_tms
					 &jtag_tck
					 &jtag_tdi
					 &jtag_tdo
					 &sku3
					 &nc_pins
					 &sku1
					 &mcu_host_wake>;
	};
};

&buck4_reg {
	regulator-min-microvolt = <2000000>;
	regulator-max-microvolt = <2000000>;
};

